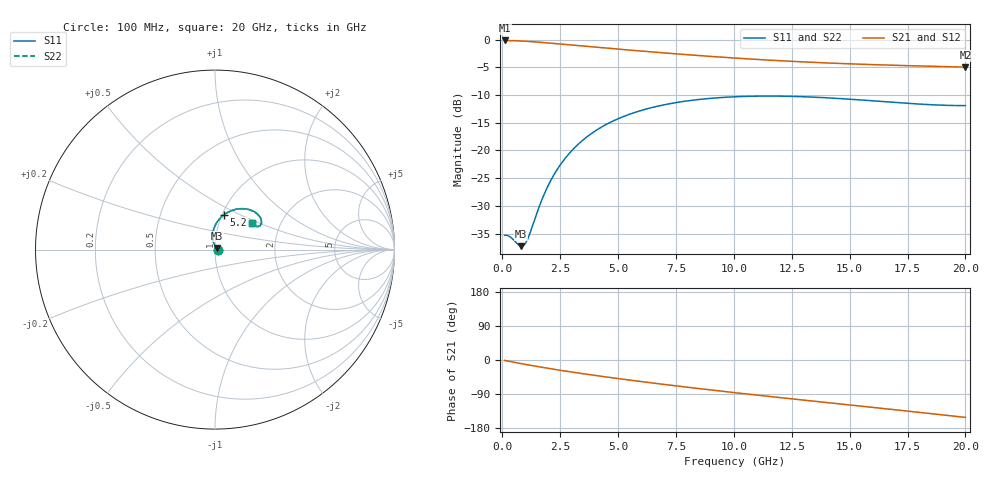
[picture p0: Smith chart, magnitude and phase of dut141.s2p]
! Created with skrf 1.9.0 (http://scikit-rf.org).
# GHz S RI R 50.0
!freq ReS11 ImS11 ReS21 ImS21 ReS12 ImS12 ReS22 ImS22
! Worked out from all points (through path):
!   200 points, 100 MHz to 20 GHz, reference 50 ohm
!   highest |S21| = -0.15 dB at 100 MHz (marker M1); lowest = -5.0 dB at 20 GHz (marker M2)
!   group delay of S21, straight-line fit = 20.1 ps
!   lowest |S11| = -37.3 dB at 800 MHz (marker M3), VSWR 1.03, Z = 51.1 + j0.894 ohm
!   |S11| at or under -10 dB: start of sweep to end of sweep
!   |S22| runs from -37.3 to -10.2 dB; largest |S21 - S12| = 2.6e-15
!   S11 on the Smith chart (normalised r, x): 100 MHz: 1.03, +0.00; 5.2 GHz: 1.02, +0.41; 20 GHz: 1.44, +0.45
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0.1  0.0172 0.000415  0.9823 -0.0199  0.9823 -0.0199  0.0172 0.000415
0.3  0.0167 0.00227  0.9788 -0.0605  0.9788 -0.0605  0.0167 0.00227
0.8  0.0105 0.00875  0.959 -0.1578  0.959 -0.1578  0.0105 0.00875
0.9  0.00876 0.0106  0.9532 -0.1763  0.9532 -0.1763  0.00876 0.0106
1  0.00688 0.0128  0.9469 -0.1944  0.9469 -0.1944  0.00688 0.0128
1.1  0.00494 0.0151  0.9402 -0.2122  0.9402 -0.2122  0.00494 0.0151
1.7  -0.00632 0.035  0.8913 -0.3096  0.8913 -0.3096  -0.00632 0.035
1.9  -0.00926 0.0434  0.8726 -0.3386  0.8726 -0.3386  -0.00926 0.0434
2.2  -0.0123 0.0575  0.8431 -0.379  0.8431 -0.379  -0.0123 0.0575
2.5  -0.0136 0.0726  0.8123 -0.416  0.8123 -0.416  -0.0136 0.0726
2.8  -0.0128 0.0883  0.7806 -0.4497  0.7806 -0.4497  -0.0128 0.0883
3.5  -0.00349 0.1249  0.7045 -0.5172  0.7045 -0.5172  -0.00349 0.1249
4.3  0.0179 0.1622  0.6161 -0.5781  0.6161 -0.5781  0.0179 0.1622
5.2  0.0509 0.1945  0.5167 -0.6289  0.5167 -0.6289  0.0509 0.1945
6.8  0.1172 0.2245  0.346 -0.6811  0.346 -0.6811  0.1172 0.2245
8.3  0.1738 0.2263  0.1982 -0.6949  0.1982 -0.6949  0.1738 0.2263
10.1  0.2238 0.2077  0.0403 -0.6793  0.0403 -0.6793  0.2238 0.2077
11.7  0.2494 0.1829  -0.0823 -0.6446  -0.0823 -0.6446  0.2494 0.1829
13.4  0.2591 0.1569  -0.1963 -0.5921  -0.1963 -0.5921  0.2591 0.1569
16.7  0.2412 0.1287  -0.3753 -0.4532  -0.3753 -0.4532  0.2412 0.1287
18.4  0.2232 0.1317  -0.4456 -0.3641  -0.4456 -0.3641  0.2232 0.1317
20  0.2076 0.146  -0.4957 -0.2707  -0.4957 -0.2707  0.2076 0.146
